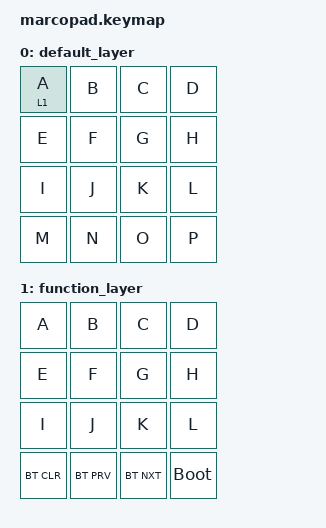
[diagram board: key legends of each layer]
#include <behaviors.dtsi>
#include <dt-bindings/zmk/keys.h>
#include <dt-bindings/zmk/bt.h>

/ {
    keymap {
        compatible = "zmk,keymap";

        default_layer {
            bindings = <
    &lt 1 A    &kp B    &kp C    &kp D
    &kp E      &kp F    &kp G    &kp H
    &kp I      &kp J    &kp K    &kp L
    &kp M      &kp N    &kp O    &kp P
            >;
        };
        function_layer {
            bindings = <
    &kp A      &kp B      &kp C      &kp D
    &kp E      &kp F      &kp G      &kp H
    &kp I      &kp J      &kp K      &kp L
    &bt BT_CLR &bt BT_PRV &bt BT_NXT &bootloader
            >;
        };
    };
};
